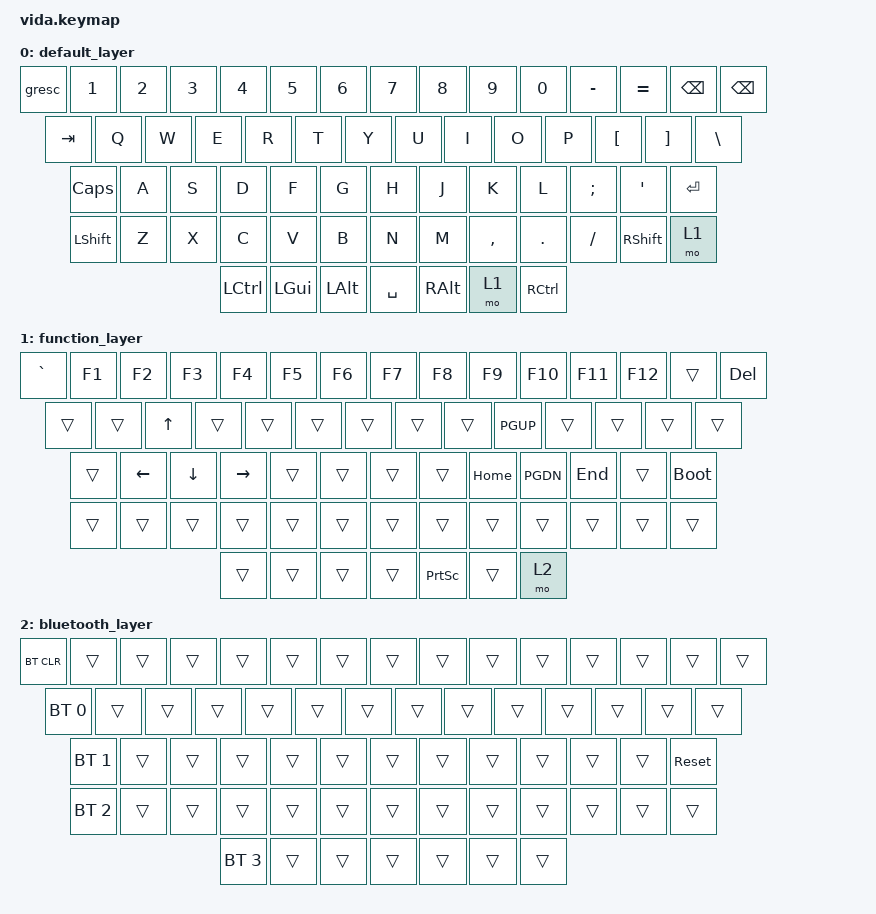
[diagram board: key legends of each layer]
/*
 * Copyright (c) 2024 Andrew Kannan
 *
 * SPDX-License-Identifier: MIT
 */

#include <behaviors.dtsi>
#include <dt-bindings/zmk/keys.h>
#include <dt-bindings/zmk/bt.h>

/ {
    keymap {
        compatible = "zmk,keymap";

        default_layer {
// ------------------------------------------------------------------------------------------
// | ESC |  1  |  2  |  3  |  4  |  5  |  6  |  7  |  8  |  9  |  0  |  -  |  =  | BKSP|BKSP|
// | TAB  |  Q  |  W  |  E  |  R  |  T  |  Y  |  U  |  I  |  O  |  P  |  [  |  ]  |   "|"   |
// | CAPS  |  A  |  S  |  D  |  F  |  G  |  H  |  J  |  K  |  L  |  ;  |  '  |     ENTER    |
// |  SHIFT  |  Z  |  X  |  C  |  V  |  B  |  N  |  M  |  ,  |  .  |  /  |  SHIFT  | MO(1)  |
// |  CTL  |  WIN  |  ALT  |            SPACE                      |  ALT  |  MO(1) |  CTL  |
// ------------------------------------------------------------------------------------------
            bindings = <
    &gresc  &kp N1 &kp N2 &kp N3 &kp N4 &kp N5 &kp N6 &kp N7 &kp N8 &kp N9 &kp N0 &kp MINUS &kp EQUAL  &kp BSPC &kp BSPC
    &kp TAB  &kp Q  &kp W  &kp E  &kp R  &kp T  &kp Y  &kp U  &kp I  &kp O  &kp P  &kp LBKT  &kp RBKT  &kp BSLH
    &kp CLCK  &kp A  &kp S  &kp D  &kp F  &kp G  &kp H  &kp J  &kp K  &kp L  &kp SEMI &kp SQT           &kp RET
    &kp LSHFT   &kp Z  &kp X  &kp C  &kp V  &kp B  &kp N  &kp M  &kp COMMA &kp DOT &kp FSLH   &kp RSHFT &mo 1
    &kp LCTRL &kp LGUI &kp LALT             &kp SPACE                                &kp RALT  &mo 1   &kp RCTRL
            >;
        };

        function_layer {
// ------------------------------------------------------------------------------------------------
// |    `   | F1  | F2  | F3  | F4  | F5  | F6  | F7  | F8  | F9  | F10  | F11 | F12 |     | DEL  |
// |        |      |  UP |   |       |       |       |       |      |  PGUP |    |     |    |       |
// |          | LT |  DN  | RT |       |       |       |       | HOME | PGDN | END  |  | BOOTLDR  |
// |             |     |      |      |     |     |     |     |     |     |     |         |        |
// |         |      |      |                                           | PRT SCR |        |  MO(2)|
// ------------------------------------------------------------------------------------------------
            bindings = <
    &kp GRAVE &kp F1    &kp F2    &kp F3  &kp F4           &kp F5          &kp F6          &kp F7          &kp F8   &kp F9   &kp F10  &kp F11 &kp F12  &trans &kp DEL
    &trans &trans    &kp UP    &trans  &trans  &trans &trans &trans  &trans   &kp PGUP   &trans   &trans  &trans    &trans
    &trans &kp LEFT  &kp DOWN  &kp RIGHT &trans &trans &trans &trans &kp HOME &kp PGDN &kp END   &trans        &bootloader
    &trans       &trans    &trans    &trans   &trans          &trans          &trans          &trans          &trans   &trans   &trans                 &trans  &trans
    &trans       &trans   &trans                            &trans                                           &kp PSCRN         &trans              &mo 2
            >;
        };

        bluetooth_layer {
// ------------------------------------------------------------------------------------------------
// | BT CLR |     |     |     |     |     |     |     |     |     |     |    |    |       |       |
// |  BT 1   |   |     |   |       |       |       |       |   |     |    |     |     |           |
// |   BT 2   |    |      |    |       |       |       |       |      |      |      |  |   Reset  |
// |    BT 3     |     |      |      |     |     |     |     |     |     |     |         |        |
// |   BT 4  |      |      |                                    |         |       |       |       |
// ------------------------------------------------------------------------------------------------
            bindings = <
    &bt BT_CLR   &trans    &trans    &trans  &trans           &trans          &trans     &trans      &trans   &trans   &trans  &trans &trans  &trans &trans
    &bt BT_SEL 0  &trans    &trans    &trans  &trans  &trans &trans &trans  &trans   &trans   &trans   &trans  &trans        &trans
    &bt BT_SEL 1   &trans  &trans  &trans &trans &trans &trans &trans &trans &trans &trans   &trans        &sys_reset
    &bt BT_SEL 2    &trans    &trans    &trans   &trans          &trans          &trans          &trans          &trans   &trans   &trans     &trans  &trans
    &bt BT_SEL 3  &trans   &trans                            &trans                                      &trans         &trans               &trans
            >;
        };

    };

    combos {
        compatible = "zmk,combos";
        combo_bt {
            timeout-ms = <50>;
            key-positions = <60 61>;
            bindings = <&mo 2>;
        };
    };

};
